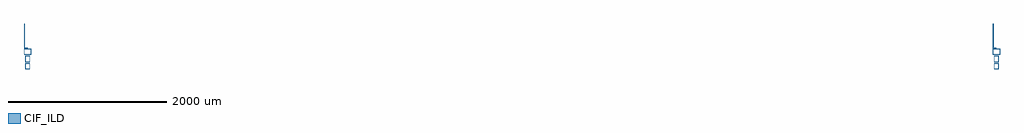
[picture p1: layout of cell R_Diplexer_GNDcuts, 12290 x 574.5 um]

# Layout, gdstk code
import gdstk
lib = gdstk.Library(unit=1e-6, precision=1e-09)
def P(c, l, *ps):  # polygons
    for p in ps: c.add(gdstk.Polygon(p, *l))
CIF_ILD = (5, 0)

r_diplexer_gndcuts = lib.new_cell('R_Diplexer_GNDcuts')
P(r_diplexer_gndcuts, CIF_ILD, [(-6130,15),(-6130,92),(-6070,92),(-6070,15),(-6127.5,15),(-6127.5,20),(-6075,20),(-6075,87),(-6125,87),(-6125,15)],
  [(-6130,107),(-6130,184),(-6070,184),(-6070,107),(-6127.5,107),(-6127.5,112),(-6075,112),(-6075,179),(-6125,179),(-6125,107)],
  [(-6145,199),(-6145,275),(-6055,275),(-6055,199),(-6142.5,199),(-6142.5,204),(-6060,204),(-6060,270),(-6140,270),(-6140,199)],
  [(-6145,277.5),(-6145,589.5),(-6135,589.5),(-6135,287.5),(-6100,287.5),(-6100,277.5)],
  [(6070,15),(6070,92),(6130,92),(6130,15),(6072.5,15),(6072.5,20),(6125,20),(6125,87),(6075,87),(6075,15)],
  [(6070,107),(6070,184),(6130,184),(6130,107),(6072.5,107),(6072.5,112),(6125,112),(6125,179),(6075,179),(6075,107)],
  [(6055,199),(6055,275),(6145,275),(6145,199),(6057.5,199),(6057.5,204),(6140,204),(6140,270),(6060,270),(6060,199)],
  [(6055,277.5),(6055,589.5),(6065,589.5),(6065,287.5),(6100,287.5),(6100,277.5)])

lib.write_gds('R_Diplexer_GNDcuts.gds')
